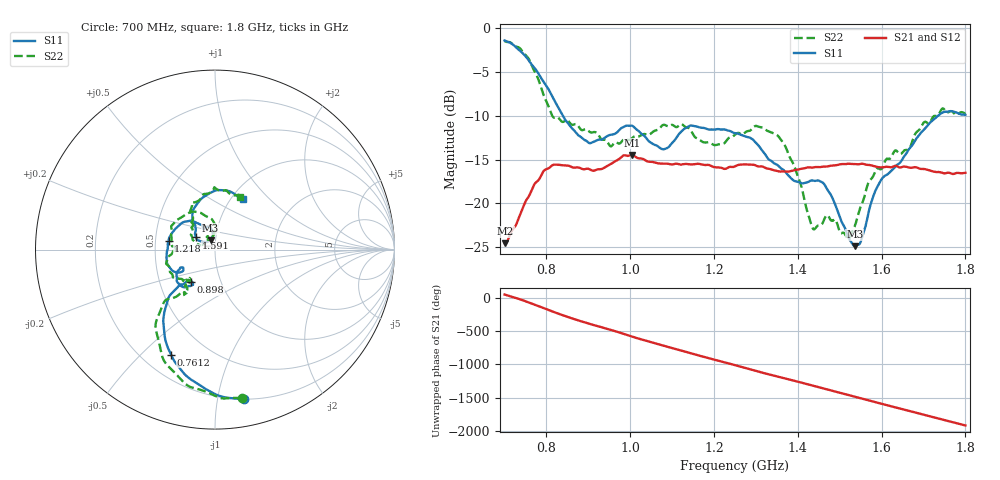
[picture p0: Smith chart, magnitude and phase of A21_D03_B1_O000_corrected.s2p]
! Created with skrf 1.9.0 (http://scikit-rf.org).
# Hz S RI R 50.0
!freq ReS11 ImS11 ReS21 ImS21 ReS12 ImS12 ReS22 ImS22
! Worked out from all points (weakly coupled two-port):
!   1601 points, 700 MHz to 1.8 GHz, reference 50 ohm
!   highest |S21| = -14.47 dB at 1.005 GHz (marker M1); lowest = -24.6 dB at 701.4 MHz (marker M2)
!   lowest |S11| = -24.9 dB at 1.536 GHz (marker M3), VSWR 1.12, Z = 47.4 + j4.9 ohm
!   |S11| at or under -10 dB: 838.8 MHz to 1.735 GHz (896 MHz wide, 69.6 % of centre)
!   |S22| runs from -24.1 to -1.5 dB; largest |S21 - S12| = 0.0035
!   S11 on the Smith chart (normalised r, x): 700 MHz: 0.20, -1.19; 761.2 MHz: 0.32, -0.62; 898 MHz: 0.72, -0.27; 1.218 GHz: 0.59, +0.06; 1.591 GHz: 0.80, +0.11; 1.8 GHz: 1.13, +0.70
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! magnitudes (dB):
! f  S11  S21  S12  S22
! 700 MHz  -1.4  -24.6  -24.3  -1.5
! 701.4 MHz  -1.5  -24.6  -24.2  -1.5
! 761.2 MHz  -3.9  -18.9  -18.8  -3.9
! 814.8 MHz  -7.9  -15.6  -15.7  -10.1
! 883.6 MHz  -12.5  -16.0  -15.9  -11.6
! 898 MHz  -13.0  -16.0  -16.1  -11.6
! 953 MHz  -12.2  -15.5  -15.5  -13.5
! 1.005 GHz  -11.2  -14.5  -14.6  -12.5
! 1.067 GHz  -13.5  -15.4  -15.4  -11.6
! 1.143 GHz  -11.1  -15.6  -15.5  -11.6
! 1.218 GHz  -11.6  -16.0  -16.0  -13.2
! 1.25 GHz  -12.0  -15.8  -15.7  -12.2
! 1.355 GHz  -15.8  -16.4  -16.3  -12.4
! 1.394 GHz  -17.5  -16.2  -16.2  -16.0
! 1.434 GHz  -17.4  -15.9  -15.9  -22.6
! 1.465 GHz  -18.0  -15.8  -15.8  -21.6
! 1.52 GHz  -23.8  -15.5  -15.5  -24.1
! 1.536 GHz  -24.9  -15.5  -15.5  -22.6
! 1.591 GHz  -18.0  -15.9  -15.8  -16.0
! 1.617 GHz  -16.6  -15.9  -15.8  -14.9
! 1.738 GHz  -9.9  -16.4  -16.5  -9.7
! 1.8 GHz  -9.9  -16.5  -16.5  -9.8
